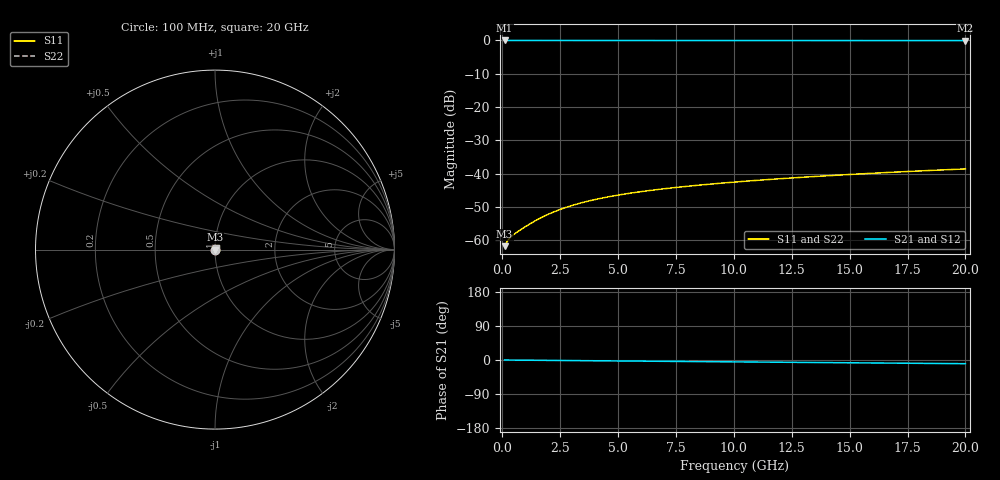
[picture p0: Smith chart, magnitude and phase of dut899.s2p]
! Touchstone file exported from HFSS 2026.1.0
!  File:  C:/ffzhzh/LocalFiles/Ansys_Project_Files/temp_train_TMRDL_899_1783157803_22436.aedt
!  Generated:  05:37:54 PM Jul  4, 2026
!  Design:  TMRDL
!  Project:  temp_train_TMRDL_899_1783157803_22436
! Variables:
!  h_bsmrdl = 2um
!  h_ox = 20um
!  h_rdl = 5um
!  h_sub = 80um
!  h_tmrdl = 5.88um
!  h_tsv = 80um
!  h_via = 3um
!  l_bsmrdl = 300um
!  l_sub = 568.89um
!  l_tmrdl = 168.89um
!  m_sub = 200um
!  pitch = 21.26um
!  r_tsv = 6um
!  s_tmrdl = 10um
!  w_bsmrdl = 18um
!  w_sub = 500um
!  w_tmrdl = 15.86um
!  x_tsv_center1 = 176.82um
!  x_tsv_center2 = 494.82um
!  x_tsv_center3 = 679.57um
!  x_tsv_center4 = 997.57um
!  x_tsv_center5 = 1182.32um
!  x_tsv_center6 = 1500.32um
# GHz S MA R 50.000000
! Terminal data exported
! Port[1] = TM_RDL1_1_T1
! Port[2] = TM_RDL1_1_T2
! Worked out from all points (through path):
!   200 points, 100 MHz to 20 GHz, reference 50 ohm
!   highest |S21| = -0.01 dB at 100 MHz (marker M1); lowest = 0.0 dB at 20 GHz (marker M2)
!   group delay of S21, straight-line fit = 1.35 ps
!   lowest |S11| = -61.8 dB at 100 MHz (marker M3), VSWR 1.00, Z = 50.1 + j0.0217 ohm
!   |S11| at or under -10 dB: start of sweep to end of sweep
!   |S22| runs from -61.8 to -38.6 dB; largest |S21 - S12| = 5e-15
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0.1  0.0008103 15.5  0.9992 -0.1  0.9992 -0.1  0.0008103 15.5
! Gamma 0 0 0 0
! Port Impedance 50 0 50 0
0.2  0.0009415 23.1  0.9991 -0.1  0.9991 -0.1  0.0009415 23.1
0.3  0.001052 26.9  0.9991 -0.2  0.9991 -0.2  0.001052 26.9
0.4  0.00114 29.7  0.999 -0.2  0.999 -0.2  0.00114 29.7
0.6  0.00129 34.9  0.9989 -0.3  0.9989 -0.3  0.00129 34.9
0.8  0.001437 39.6  0.9989 -0.4  0.9989 -0.4  0.001437 39.6
1.1  0.001675 45.2  0.9988 -0.6  0.9988 -0.6  0.001675 45.2
1.4  0.001929 49.2  0.9988 -0.7  0.9988 -0.7  0.001929 49.2
1.9  0.002367 53.3  0.9986 -1.0  0.9986 -1.0  0.002367 53.3
2.4  0.002803 55.3  0.9985 -1.2  0.9985 -1.2  0.002803 55.3
2.9  0.003222 56.3  0.9983 -1.5  0.9983 -1.5  0.003222 56.3
3.5  0.003695 56.7  0.9981 -1.8  0.9981 -1.8  0.003696 56.7
4.2  0.004207 56.7  0.9978 -2.1  0.9978 -2.1  0.004207 56.7
4.9  0.004678 56.5  0.9976 -2.5  0.9976 -2.5  0.004678 56.5
5.8  0.005235 56.1  0.9973 -2.9  0.9973 -2.9  0.005235 56.1
6.8  0.005805 55.8  0.997 -3.4  0.997 -3.4  0.005806 55.8
8.3  0.006596 55.4  0.9966 -4.1  0.9966 -4.1  0.006597 55.4
10.1  0.007479 55.1  0.9962 -5.0  0.9962 -5.0  0.007481 55.1
11.7  0.008225 54.8  0.9959 -5.8  0.9959 -5.8  0.008227 54.8
13.4  0.008988 54.5  0.9956 -6.6  0.9956 -6.6  0.00899 54.5
16.7  0.0104 53.8  0.995 -8.2  0.995 -8.2  0.0104 53.7
20  0.01174 52.9  0.9945 -9.7  0.9945 -9.7  0.01174 52.9
